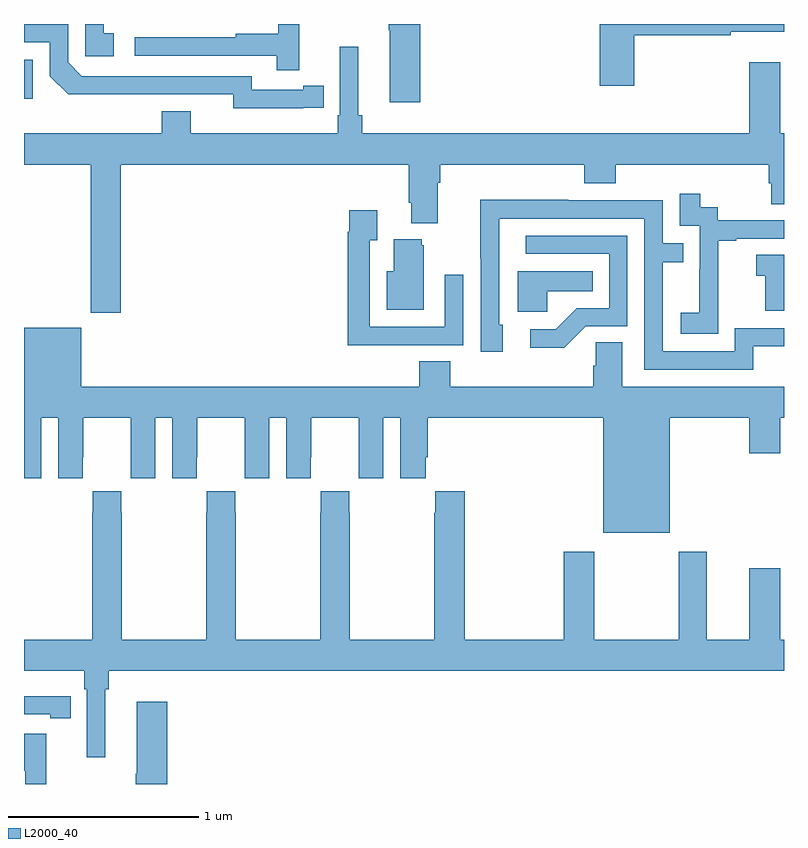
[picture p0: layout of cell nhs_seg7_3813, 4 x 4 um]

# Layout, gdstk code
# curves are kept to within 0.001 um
import gdstk
lib = gdstk.Library(unit=1e-6, precision=1e-09)
def R(c, l, rs):  # rectangles x0, y0, x1, y1
    for r in rs: c.add(gdstk.rectangle(r[:2], r[2:], *l))
def P(c, l, *ps):  # polygons
    for p in ps: c.add(gdstk.Polygon(p, *l))
L2000_40 = (2000, 40)

nhs_seg7_3813 = lib.new_cell('nhs_seg7_3813')
R(nhs_seg7_3813, L2000_40, [(353,1023.606,353.046,1023.813)])
P(nhs_seg7_3813, L2000_40, [(354.47,1023.558),(354.578,1023.558),(354.578,1023.674),(354.47,1023.674),(354.47,1023.654),(354.198,1023.654),(354.198,1023.726),(353.304,1023.726),(353.232,1023.798),(353.232,1023.999),(353,1024),(353,1023.903),(353.136,1023.903),(353.136,1023.726),(353.234,1023.629),(354.102,1023.63),(354.102,1023.557)],
  [(355.085,1024),(354.919,1024),(354.919,1023.967),(354.926,1023.967),(354.926,1023.588),(355.085,1023.588)],
  [(356.213,1023.94),(356.72,1023.94),(356.72,1023.959),(357,1023.959),(357,1024),(356.03,1024),(356.03,1023.675),(356.213,1023.675)],
  [(354.449,1024),(354.339,1024),(354.339,1023.95),(354.115,1023.95),(354.115,1023.93),(353.583,1023.93),(353.583,1023.834),(354.331,1023.834),(354.331,1023.756),(354.449,1023.756)],
  [(353.473,1023.951),(353.42,1023.951),(353.42,1024),(353.322,1024),(353.322,1023.831),(353.473,1023.831)],
  [(353.51,1023.26),(355.025,1023.26),(355.025,1023.058),(355.037,1023.058),(355.037,1022.951),(355.177,1022.951),(355.177,1023.164),(355.19,1023.164),(355.19,1023.26),(355.949,1023.26),(355.949,1023.161),(356.114,1023.161),(356.114,1023.26),(356.921,1023.26),(356.921,1023.162),(356.933,1023.162),(356.933,1023.052),(357,1023.052),(357,1023.424),(356.98,1023.424),(356.98,1023.799),(356.816,1023.799),(356.816,1023.424),(354.779,1023.424),(354.779,1023.52),(354.76,1023.52),(354.76,1023.88),(354.663,1023.88),(354.663,1023.52),(354.65,1023.52),(354.65,1023.424),(353.878,1023.424),(353.878,1023.541),(353.726,1023.541),(353.726,1023.424),(353,1023.424),(353,1023.26),(353.35,1023.26),(353.35,1022.481),(353.51,1022.481)],
  [(356.655,1022.575),(356.654,1022.575),(356.654,1022.859),(356.749,1022.859),(356.749,1022.871),(357,1022.871),(357,1022.967),(356.652,1022.967),(356.652,1023.036),(356.56,1023.036),(356.56,1023.106),(356.451,1023.106),(356.451,1022.937),(356.556,1022.937),(356.556,1022.708),(356.555,1022.708),(356.555,1022.479),(356.457,1022.479),(356.457,1022.369),(356.655,1022.369)],
  [(356.839,1022.304),(357,1022.304),(357,1022.4),(356.742,1022.4),(356.742,1022.277),(356.361,1022.277),(356.361,1022.746),(356.471,1022.746),(356.471,1022.847),(356.361,1022.847),(356.361,1023.072),(355.865,1023.072),(355.865,1023.074),(355.402,1023.074),(355.402,1022.767),(355.404,1022.767),(355.404,1022.274),(355.519,1022.274),(355.519,1022.418),(355.5,1022.418),(355.5,1022.722),(355.501,1022.722),(355.501,1022.976),(356.265,1022.976),(356.265,1022.181),(356.839,1022.181)],
  [(354.995,1022.31),(355.311,1022.31),(355.311,1022.68),(355.215,1022.68),(355.215,1022.406),(354.819,1022.406),(354.819,1022.863),(354.859,1022.863),(354.859,1023.019),(354.711,1023.019),(354.711,1022.906),(354.703,1022.906),(354.703,1022.309),(354.995,1022.309)],
  [(355.956,1022.409),(356.175,1022.409),(356.175,1022.886),(355.641,1022.886),(355.641,1022.79),(356.079,1022.79),(356.079,1022.505),(355.91,1022.505),(355.799,1022.394),(355.665,1022.394),(355.665,1022.297),(355.843,1022.297)],
  [(355.105,1022.835),(355.094,1022.835),(355.094,1022.866),(354.947,1022.866),(354.947,1022.698),(354.908,1022.698),(354.908,1022.495),(355.105,1022.495)],
  [(357,1022.785),(356.853,1022.785),(356.853,1022.675),(356.902,1022.675),(356.902,1022.49),(357,1022.49)],
  [(355.755,1022.594),(355.994,1022.594),(355.994,1022.698),(355.598,1022.698),(355.598,1022.486),(355.755,1022.486)],
  [(356.398,1021.928),(356.816,1021.928),(356.816,1021.74),(356.98,1021.74),(356.98,1021.928),(357,1021.928),(357,1022.092),(356.149,1022.092),(356.149,1022.324),(356.01,1022.324),(356.01,1022.201),(355.997,1022.201),(355.997,1022.092),(355.244,1022.092),(355.244,1022.225),(355.079,1022.225),(355.079,1022.092),(353.302,1022.092),(353.302,1022.401),(353,1022.401),(353,1021.608),(353.092,1021.608),(353.092,1021.928),(353.18,1021.928),(353.18,1021.608),(353.31,1021.608),(353.31,1021.72),(353.311,1021.72),(353.311,1021.928),(353.561,1021.928),(353.561,1021.72),(353.562,1021.72),(353.562,1021.608),(353.692,1021.608),(353.692,1021.928),(353.78,1021.928),(353.78,1021.608),(353.91,1021.608),(353.91,1021.72),(353.911,1021.72),(353.911,1021.928),(354.161,1021.928),(354.161,1021.72),(354.162,1021.72),(354.162,1021.608),(354.292,1021.608),(354.292,1021.928),(354.38,1021.928),(354.38,1021.608),(354.51,1021.608),(354.51,1021.72),(354.511,1021.72),(354.511,1021.928),(354.761,1021.928),(354.761,1021.72),(354.762,1021.72),(354.762,1021.608),(354.892,1021.608),(354.892,1021.928),(354.98,1021.928),(354.98,1021.608),(355.114,1021.608),(355.114,1021.72),(355.124,1021.72),(355.124,1021.928),(356.048,1021.928),(356.048,1021.322),(356.398,1021.322)],
  [(353.428,1020.5),(353.447,1020.5),(353.447,1020.596),(357,1020.596),(357,1020.76),(356.98,1020.76),(356.98,1021.135),(356.816,1021.135),(356.816,1020.76),(356.593,1020.76),(356.593,1021.222),(356.446,1021.222),(356.446,1020.76),(356.001,1020.76),(356.001,1021.222),(355.841,1021.222),(355.841,1020.76),(355.319,1020.76),(355.319,1021.54),(355.165,1021.54),(355.165,1021.427),(355.159,1021.427),(355.159,1020.76),(354.714,1020.76),(354.714,1021.427),(354.711,1021.427),(354.711,1021.54),(354.561,1021.54),(354.561,1021.427),(354.559,1021.427),(354.559,1020.76),(354.114,1020.76),(354.114,1021.427),(354.111,1021.427),(354.111,1021.54),(353.961,1021.54),(353.961,1021.427),(353.959,1021.427),(353.959,1020.76),(353.514,1020.76),(353.514,1021.427),(353.511,1021.427),(353.511,1021.54),(353.361,1021.54),(353.361,1021.427),(353.359,1021.427),(353.359,1020.76),(353,1020.76),(353,1020.596),(353.318,1020.596),(353.318,1020.5),(353.331,1020.5),(353.331,1020.141),(353.428,1020.141)],
  [(353.246,1020.462),(353.138,1020.462),(353.138,1020.463),(353,1020.463),(353,1020.366),(353.138,1020.366),(353.138,1020.346),(353.246,1020.346)],
  [(353.753,1020.433),(353.594,1020.433),(353.594,1020.053),(353.587,1020.053),(353.587,1020),(353.753,1020)],
  [(353.117,1020.265),(353,1020.265),(353,1020.07),(353.007,1020.07),(353.007,1020),(353.117,1020)])

lib.write_gds('nhs_seg7_3813.gds')
